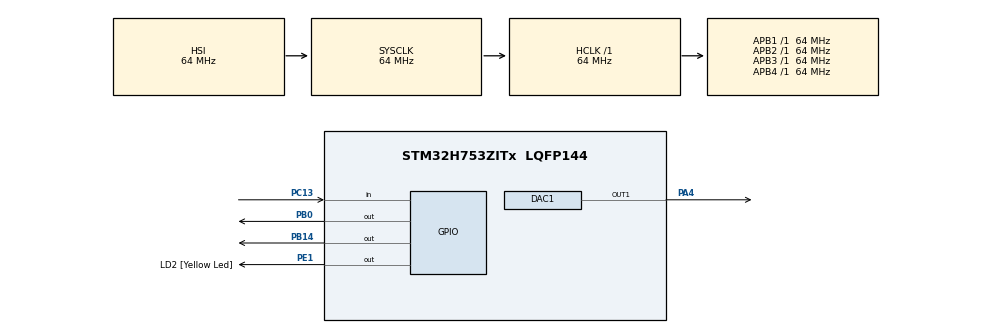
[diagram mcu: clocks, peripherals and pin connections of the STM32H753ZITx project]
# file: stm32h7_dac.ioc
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CORTEX_M7.CPU_DCache=Disabled
CORTEX_M7.CPU_ICache=Disabled
CORTEX_M7.MPU_Control=__NULL
CORTEX_M7.default_mode_Activation=1
DAC1.DAC_Channel-DAC_OUT1=DAC_CHANNEL_1
DAC1.DAC_Trigger-DAC_OUT1=DAC_TRIGGER_T2_TRGO
Dma.DAC1_CH1.0.Direction=DMA_MEMORY_TO_PERIPH
Dma.DAC1_CH1.0.EventEnable=DISABLE
Dma.DAC1_CH1.0.FIFOMode=DMA_FIFOMODE_DISABLE
Dma.DAC1_CH1.0.Instance=DMA1_Stream5
Dma.DAC1_CH1.0.MemDataAlignment=DMA_MDATAALIGN_WORD
Dma.DAC1_CH1.0.MemInc=DMA_MINC_ENABLE
Dma.DAC1_CH1.0.Mode=DMA_CIRCULAR
Dma.DAC1_CH1.0.PeriphDataAlignment=DMA_PDATAALIGN_WORD
Dma.DAC1_CH1.0.PeriphInc=DMA_PINC_DISABLE
Dma.DAC1_CH1.0.Polarity=HAL_DMAMUX_REQ_GEN_RISING
Dma.DAC1_CH1.0.Priority=DMA_PRIORITY_LOW
Dma.DAC1_CH1.0.RequestNumber=1
Dma.DAC1_CH1.0.SignalID=NONE
Dma.DAC1_CH1.0.SyncEnable=DISABLE
Dma.DAC1_CH1.0.SyncPolarity=HAL_DMAMUX_SYNC_NO_EVENT
Dma.DAC1_CH1.0.SyncRequestNumber=1
Dma.DAC1_CH1.0.SyncSignalID=NONE
Dma.Request0=DAC1_CH1
Mcu.Family=STM32H7
Mcu.Name=STM32H753ZITx
Mcu.Package=LQFP144
NUCLEO-H753ZI.BUTTON=1
NUCLEO-H753ZI.LD1=true
NUCLEO-H753ZI.LD2=true
NUCLEO-H753ZI.LD3=true
NUCLEO-H753ZI.VCP=true
NVIC.DMA1_Stream5_IRQn=true\:0\:0\:false\:false\:true\:false\:true\:true
NVIC.EXTI15_10_IRQn=true\:0\:0\:false\:false\:true\:false\:true\:true
NVIC.PriorityGroup=NVIC_PRIORITYGROUP_4
PA4.Signal=COMP_DAC11_group
PB0.Signal=GPIO_Output
PB14.Signal=GPIO_Output
PC13.Signal=GPIO_Input
PC14-OSC32_IN\ (OSC32_IN).Signal=RCC_OSC32_IN
PC15-OSC32_OUT\ (OSC32_OUT).Signal=RCC_OSC32_OUT
PD8.Signal=USART3_TX
PD9.Signal=USART3_RX
PE1.GPIO_Label=LD2 [Yellow Led]
PE1.Signal=GPIO_Output
PH0-OSC_IN\ (PH0).Signal=RCC_OSC_IN
PH1-OSC_OUT\ (PH1).Signal=RCC_OSC_OUT
ProjectManager.HeapSize=0x200
ProjectManager.StackSize=0x400
ProjectManager.TargetToolchain=STM32CubeIDE
RCC.ADCFreq_Value=129000000
RCC.APB1Freq_Value=64000000
RCC.APB2Freq_Value=64000000
RCC.APB3Freq_Value=64000000
RCC.APB4Freq_Value=64000000
RCC.CortexFreq_Value=64000000
RCC.DIVM1=1
RCC.DIVN1=24
RCC.DIVQ1=4
RCC.HCLKFreq_Value=64000000
RCC.HSE_VALUE=8000000
RCC.PLLFRACN=0
RCC.PWR_Regulator_Voltage_Scale=PWR_REGULATOR_VOLTAGE_SCALE2
RCC.SYSCLKFreq_VALUE=64000000
RCC.USBFreq_Value=384000000
SH.COMP_DAC11_group.0=DAC1_OUT1,DAC_OUT1
TIM2.Period=100-1
TIM2.Prescaler=64-1
TIM2.TIM_MasterOutputTrigger=TIM_TRGO_UPDATE
VP_MEMORYMAP_VS_MEMORYMAP.Mode=CurAppReg
VP_NUCLEO-H753ZI_VS_BSP_COMMON.Mode=COMMON
VP_TIM2_VS_ClockSourceINT.Mode=Internal
board=NUCLEO-H753ZI

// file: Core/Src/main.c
/* USER CODE BEGIN Header */
/**
  ******************************************************************************
  * @file           : main.c
  * @brief          : Main program body
  ******************************************************************************
  * @attention
  *
  * Copyright (c) 2025 STMicroelectronics.
  * All rights reserved.
  *
  * This software is licensed under terms that can be found in the LICENSE file
  * in the root directory of this software component.
  * If no LICENSE file comes with this software, it is provided AS-IS.
  *
  ******************************************************************************
  */
/* USER CODE END Header */
#include "main.h"
#include "math.h"

COM_InitTypeDef BspCOMInit;

DAC_HandleTypeDef hdac1;
DMA_HandleTypeDef hdma_dac1_ch1;

TIM_HandleTypeDef htim2;

void SystemClock_Config(void);
static void MX_GPIO_Init(void);
static void MX_DMA_Init(void);
static void MX_DAC1_Init(void);
static void MX_TIM2_Init(void);

/* USER CODE BEGIN 0 */
float value = 0.2;
uint32_t var;
#define SAMPLE_SIZE 1000
uint32_t square_val[SAMPLE_SIZE];
#define PI 3.1415926

uint32_t required_voltage(float v);
uint32_t required_frequency(float f);

uint32_t required_voltage(float v) {
    uint32_t dac_value = (uint32_t)((v * 4095) / 3.3);
    return dac_value;
}

uint32_t required_frequency(float f) {
    uint32_t period_value = (uint32_t)((SAMPLE_SIZE/f) - 1);
    return period_value;
}

void get_squareval() {
    uint32_t voltage = required_voltage(2.56);

    for (int i = 0; i < SAMPLE_SIZE; i++) {
        // Alternate between high and low values for the square wave
        if (i < SAMPLE_SIZE/2) {
            square_val[i] = 0;  // Low voltage level
        } else {
            square_val[i] = voltage;  // High voltage level
        }
    }
}
/* USER CODE END 0 */

int main(void)
{

  /* MCU Configuration--------------------------------------------------------*/

  /* Reset of all peripherals, Initializes the Flash interface and the Systick. */
  HAL_Init();

  /* Configure the system clock */
  SystemClock_Config();

  /* Initialize all configured peripherals */
  MX_GPIO_Init();
  MX_DMA_Init();
  MX_DAC1_Init();
  MX_TIM2_Init();
  /* USER CODE BEGIN 2 */

  HAL_TIM_Base_Start(&htim2);
  get_squareval();
  HAL_DAC_Start_DMA(&hdac1, DAC_CHANNEL_1, square_val, 1000, DAC_ALIGN_12B_R);  // Updated size

  /* USER CODE END 2 */

  /* Initialize leds */
  BSP_LED_Init(LED_GREEN);
  BSP_LED_Init(LED_BLUE);
  BSP_LED_Init(LED_RED);

  /* Initialize USER push-button, will be used to trigger an interrupt each time it's pressed.*/
  BSP_PB_Init(BUTTON_USER, BUTTON_MODE_EXTI);

  /* Initialize COM1 port (115200, 8 bits (7-bit data + 1 stop bit), no parity */
  BspCOMInit.BaudRate   = 115200;
  BspCOMInit.WordLength = COM_WORDLENGTH_8B;
  BspCOMInit.StopBits   = COM_STOPBITS_1;
  BspCOMInit.Parity     = COM_PARITY_NONE;
  BspCOMInit.HwFlowCtl  = COM_HWCONTROL_NONE;
  if (BSP_COM_Init(COM1, &BspCOMInit) != BSP_ERROR_NONE)
  {
    Error_Handler();
  }

  /* Infinite loop */
  while (1)
  {

  }
}

void SystemClock_Config(void)
{
  RCC_OscInitTypeDef RCC_OscInitStruct = {0};
  RCC_ClkInitTypeDef RCC_ClkInitStruct = {0};

  /** Supply configuration update enable
  */
  HAL_PWREx_ConfigSupply(PWR_LDO_SUPPLY);

  /** Configure the main internal regulator output voltage
  */
  __HAL_PWR_VOLTAGESCALING_CONFIG(PWR_REGULATOR_VOLTAGE_SCALE2);

  while(!__HAL_PWR_GET_FLAG(PWR_FLAG_VOSRDY)) {}

  /** Initializes the RCC Oscillators according to the specified parameters
  * in the RCC_OscInitTypeDef structure.
  */
  RCC_OscInitStruct.OscillatorType = RCC_OSCILLATORTYPE_HSI;
  RCC_OscInitStruct.HSIState = RCC_HSI_DIV1;
  RCC_OscInitStruct.HSICalibrationValue = RCC_HSICALIBRATION_DEFAULT;
  RCC_OscInitStruct.PLL.PLLState = RCC_PLL_NONE;
  if (HAL_RCC_OscConfig(&RCC_OscInitStruct) != HAL_OK)
  {
    Error_Handler();
  }

  /** Initializes the CPU, AHB and APB buses clocks
  */
  RCC_ClkInitStruct.ClockType = RCC_CLOCKTYPE_HCLK|RCC_CLOCKTYPE_SYSCLK
                              |RCC_CLOCKTYPE_PCLK1|RCC_CLOCKTYPE_PCLK2
                              |RCC_CLOCKTYPE_D3PCLK1|RCC_CLOCKTYPE_D1PCLK1;
  RCC_ClkInitStruct.SYSCLKSource = RCC_SYSCLKSOURCE_HSI;
  RCC_ClkInitStruct.SYSCLKDivider = RCC_SYSCLK_DIV1;
  RCC_ClkInitStruct.AHBCLKDivider = RCC_HCLK_DIV1;
  RCC_ClkInitStruct.APB3CLKDivider = RCC_APB3_DIV1;
  RCC_ClkInitStruct.APB1CLKDivider = RCC_APB1_DIV1;
  RCC_ClkInitStruct.APB2CLKDivider = RCC_APB2_DIV1;
  RCC_ClkInitStruct.APB4CLKDivider = RCC_APB4_DIV1;

  if (HAL_RCC_ClockConfig(&RCC_ClkInitStruct, FLASH_LATENCY_1) != HAL_OK)
  {
    Error_Handler();
  }
}

static void MX_DAC1_Init(void)
{

  DAC_ChannelConfTypeDef sConfig = {0};

  /** DAC Initialization
  */
  hdac1.Instance = DAC1;
  if (HAL_DAC_Init(&hdac1) != HAL_OK)
  {
    Error_Handler();
  }

  /** DAC channel OUT1 config
  */
  sConfig.DAC_SampleAndHold = DAC_SAMPLEANDHOLD_DISABLE;
  sConfig.DAC_Trigger = DAC_TRIGGER_T2_TRGO;
  sConfig.DAC_OutputBuffer = DAC_OUTPUTBUFFER_ENABLE;
  sConfig.DAC_ConnectOnChipPeripheral = DAC_CHIPCONNECT_DISABLE;
  sConfig.DAC_UserTrimming = DAC_TRIMMING_FACTORY;
  if (HAL_DAC_ConfigChannel(&hdac1, &sConfig, DAC_CHANNEL_1) != HAL_OK)
  {
    Error_Handler();
  }

}

static void MX_TIM2_Init(void)
{

  TIM_ClockConfigTypeDef sClockSourceConfig = {0};
  TIM_MasterConfigTypeDef sMasterConfig = {0};

  htim2.Instance = TIM2;
  htim2.Init.Prescaler = 64-1;
  htim2.Init.CounterMode = TIM_COUNTERMODE_UP;
  htim2.Init.Period = required_frequency(100);
  htim2.Init.ClockDivision = TIM_CLOCKDIVISION_DIV1;
  htim2.Init.AutoReloadPreload = TIM_AUTORELOAD_PRELOAD_DISABLE;
  if (HAL_TIM_Base_Init(&htim2) != HAL_OK)
  {
    Error_Handler();
  }
  sClockSourceConfig.ClockSource = TIM_CLOCKSOURCE_INTERNAL;
  if (HAL_TIM_ConfigClockSource(&htim2, &sClockSourceConfig) != HAL_OK)
  {
    Error_Handler();
  }
  sMasterConfig.MasterOutputTrigger = TIM_TRGO_UPDATE;
  sMasterConfig.MasterSlaveMode = TIM_MASTERSLAVEMODE_DISABLE;
  if (HAL_TIMEx_MasterConfigSynchronization(&htim2, &sMasterConfig) != HAL_OK)
  {
    Error_Handler();
  }

}

static void MX_DMA_Init(void)
{

  /* DMA controller clock enable */
  __HAL_RCC_DMA1_CLK_ENABLE();

  /* DMA interrupt init */
  /* DMA1_Stream5_IRQn interrupt configuration */
  HAL_NVIC_SetPriority(DMA1_Stream5_IRQn, 0, 0);
  HAL_NVIC_EnableIRQ(DMA1_Stream5_IRQn);

}

static void MX_GPIO_Init(void)
{
  GPIO_InitTypeDef GPIO_InitStruct = {0};

  /* GPIO Ports Clock Enable */
  __HAL_RCC_GPIOC_CLK_ENABLE();
  __HAL_RCC_GPIOH_CLK_ENABLE();
  __HAL_RCC_GPIOA_CLK_ENABLE();
  __HAL_RCC_GPIOE_CLK_ENABLE();

  /*Configure GPIO pin Output Level */
  HAL_GPIO_WritePin(LD2_GPIO_Port, LD2_Pin, GPIO_PIN_RESET);

  /*Configure GPIO pin : LD2_Pin */
  GPIO_InitStruct.Pin = LD2_Pin;
  GPIO_InitStruct.Mode = GPIO_MODE_OUTPUT_PP;
  GPIO_InitStruct.Pull = GPIO_NOPULL;
  GPIO_InitStruct.Speed = GPIO_SPEED_FREQ_LOW;
  HAL_GPIO_Init(LD2_GPIO_Port, &GPIO_InitStruct);

}

void Error_Handler(void)
{
  __disable_irq();
  while (1)
  {
  }
}
